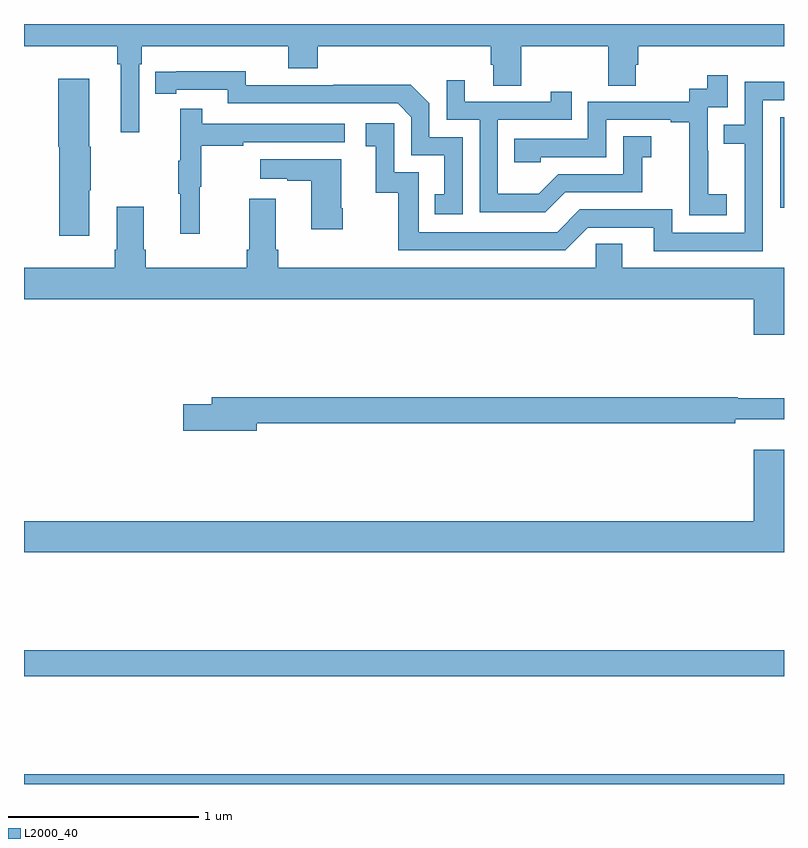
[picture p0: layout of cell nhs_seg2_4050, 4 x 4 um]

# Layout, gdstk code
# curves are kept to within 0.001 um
import gdstk
lib = gdstk.Library(unit=1e-6, precision=1e-09)
def R(c, l, rs):  # rectangles x0, y0, x1, y1
    for r in rs: c.add(gdstk.rectangle(r[:2], r[2:], *l))
def P(c, l, *ps):  # polygons
    for p in ps: c.add(gdstk.Polygon(p, *l))
L2000_40 = (2000, 40)

nhs_seg2_4050 = lib.new_cell('nhs_seg2_4050')
R(nhs_seg2_4050, L2000_40, [(329,595.8,333,595.852), (329,596.368,333,596.504), (332.979,598.833,333,599.31)])
P(nhs_seg2_4050, L2000_40, [(329.607,599.588),(329.621,599.588),(329.621,599.684),(330.392,599.684),(330.392,599.567),(330.545,599.567),(330.545,599.684),(331.457,599.684),(331.457,599.586),(331.469,599.586),(331.469,599.476),(331.617,599.476),(331.617,599.684),(332.074,599.684),(332.074,599.476),(332.221,599.476),(332.221,599.586),(332.234,599.586),(332.234,599.684),(333,599.684),(333,599.8),(329,599.8),(329,599.684),(329.491,599.684),(329.491,599.588),(329.51,599.588),(329.51,599.229),(329.607,599.229)],
  [(331.308,599.205),(331.134,599.205),(331.134,599.382),(331.036,599.48),(330.628,599.48),(330.628,599.478),(330.168,599.478),(330.168,599.551),(329.692,599.55),(329.692,599.434),(329.8,599.434),(329.8,599.454),(330.072,599.454),(330.072,599.382),(330.966,599.382),(331.038,599.31),(331.038,599.109),(331.211,599.109),(331.211,598.905),(331.162,598.905),(331.162,598.8),(331.308,598.8)],
  [(332.698,598.903),(332.6,598.903),(332.6,599.132),(332.598,599.132),(332.598,599.361),(332.703,599.361),(332.703,599.53),(332.595,599.53),(332.595,599.46),(332.502,599.46),(332.502,599.391),(331.968,599.391),(331.968,599.196),(331.579,599.196),(331.579,599.073),(331.719,599.073),(331.719,599.1),(332.064,599.1),(332.064,599.295),(332.405,599.295),(332.405,599.283),(332.501,599.283),(332.501,598.999),(332.5,598.999),(332.5,598.793),(332.698,598.793)],
  [(329.344,598.924),(329.352,598.924),(329.352,599.154),(329.344,599.154),(329.344,599.512),(329.18,599.512),(329.18,599.154),(329.186,599.154),(329.186,598.686),(329.344,598.686)],
  [(331.849,598.914),(332.253,598.914),(332.253,599.099),(332.302,599.099),(332.302,599.209),(332.154,599.209),(332.154,599.01),(331.812,599.01),(331.708,598.906),(331.494,598.906),(331.494,599.295),(331.883,599.295),(331.883,599.443),(331.772,599.443),(331.772,599.391),(331.321,599.391),(331.321,599.503),(331.224,599.503),(331.224,599.295),(331.398,599.295),(331.398,598.809),(331.744,598.809)],
  [(332.889,599.4),(333,599.4),(333,599.496),(332.793,599.496),(332.793,599.271),(332.683,599.271),(332.683,599.17),(332.793,599.17),(332.793,598.701),(332.412,598.701),(332.412,598.824),(331.926,598.824),(331.806,598.704),(331.077,598.704),(331.077,599.019),(330.948,599.019),(330.948,599.278),(330.798,599.278),(330.798,599.157),(330.851,599.157),(330.851,598.911),(330.969,598.911),(330.969,598.608),(331.848,598.608),(331.968,598.728),(332.315,598.728),(332.315,598.605),(332.889,598.605)],
  [(329.924,598.944),(329.932,598.944),(329.932,599.158),(330.155,599.158),(330.155,599.178),(330.688,599.178),(330.688,599.274),(329.939,599.274),(329.939,599.353),(329.822,599.353),(329.822,599.081),(329.811,599.081),(329.811,598.907),(329.822,598.907),(329.822,598.695),(329.924,598.695)],
  [(330.678,598.831),(330.67,598.831),(330.67,599.089),(330.243,599.089),(330.243,598.985),(330.386,598.985),(330.386,598.975),(330.512,598.975),(330.512,598.719),(330.678,598.719)],
  [(329.489,598.837),(329.489,598.612),(329.477,598.612),(329.477,598.516),(329,598.516),(329,598.352),(332.84,598.352),(332.84,598.164),(333,598.164),(333,598.516),(332.149,598.516),(332.149,598.643),(332.01,598.643),(332.01,598.516),(330.338,598.516),(330.338,598.612),(330.325,598.612),(330.325,598.879),(330.185,598.879),(330.185,598.612),(330.173,598.612),(330.173,598.516),(329.642,598.516),(329.642,598.612),(329.629,598.612),(329.629,598.837)],
  [(330.226,597.7),(332.744,597.7),(332.744,597.719),(333,597.719),(333,597.829),(332.756,597.829),(332.756,597.836),(329.987,597.836),(329.987,597.8),(329.838,597.8),(329.838,597.658),(330.226,597.658)],
  [(333,597.559),(332.84,597.559),(332.84,597.184),(329,597.184),(329,597.02),(333,597.02)])

lib.write_gds('nhs_seg2_4050.gds')
